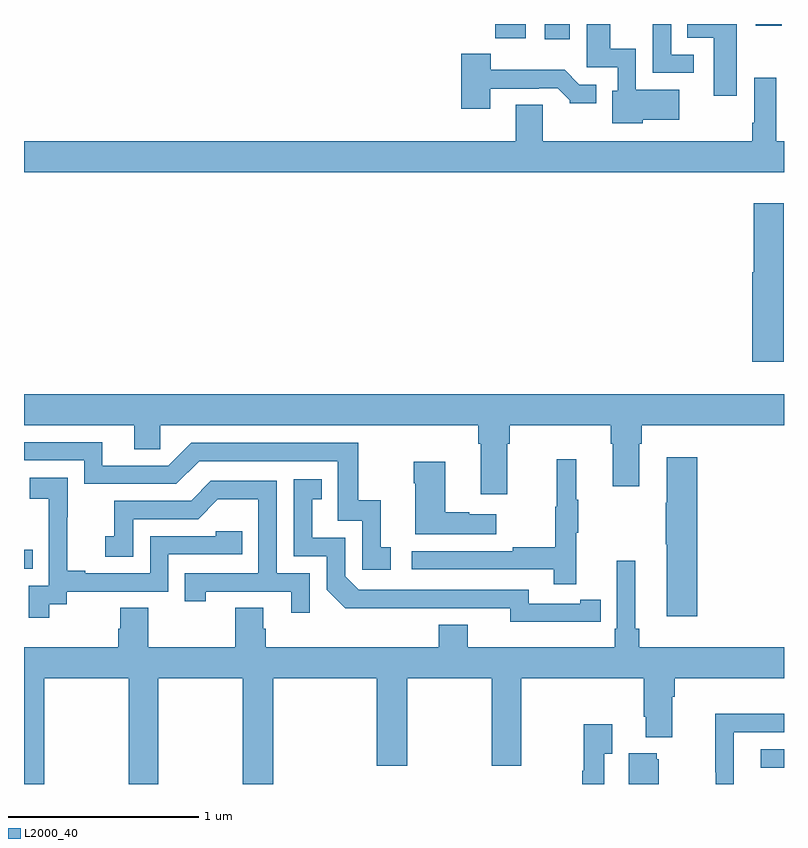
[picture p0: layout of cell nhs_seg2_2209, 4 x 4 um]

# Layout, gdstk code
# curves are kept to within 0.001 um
import gdstk
lib = gdstk.Library(unit=1e-6, precision=1e-09)
def R(c, l, rs):  # rectangles x0, y0, x1, y1
    for r in rs: c.add(gdstk.rectangle(r[:2], r[2:], *l))
def P(c, l, *ps):  # polygons
    for p in ps: c.add(gdstk.Polygon(p, *l))
L2000_40 = (2000, 40)

nhs_seg2_2209 = lib.new_cell('nhs_seg2_2209')
R(nhs_seg2_2209, L2000_40, [(230.877,593.886,231,593.982), (227,594.933,227.045,595.034), (229.742,597.72,229.873,597.8), (229.48,597.725,229.642,597.8), (230.852,597.792,230.987,597.8)])
P(nhs_seg2_2209, L2000_40, [(230.752,597.8),(230.491,597.8),(230.491,597.728),(230.63,597.728),(230.63,597.423),(230.752,597.423)],
  [(230.524,597.639),(230.406,597.639),(230.406,597.8),(230.31,597.8),(230.31,597.543),(230.524,597.543)],
  [(230.256,597.296),(230.449,597.296),(230.449,597.454),(230.22,597.454),(230.22,597.67),(230.086,597.67),(230.086,597.8),(229.961,597.8),(229.961,597.573),(230.124,597.573),(230.124,597.45),(230.096,597.45),(230.096,597.278),(230.256,597.278)],
  [(229.453,597.459),(229.709,597.459),(229.709,597.462),(229.808,597.462),(229.872,597.398),(229.872,597.383),(230.011,597.383),(230.011,597.48),(229.923,597.48),(229.845,597.559),(229.456,597.559),(229.456,597.643),(229.301,597.643),(229.301,597.354),(229.453,597.354)],
  [(231,597.184),(230.96,597.184),(230.96,597.517),(230.844,597.517),(230.844,597.28),(230.832,597.28),(230.832,597.184),(229.729,597.184),(229.729,597.374),(229.589,597.374),(229.589,597.184),(227,597.184),(227,597.02),(231,597.02)],
  [(230.998,596.857),(230.84,596.857),(230.84,596.493),(230.834,596.493),(230.834,596.022),(230.998,596.022)],
  [(229.543,595.592),(229.556,595.592),(229.556,595.688),(230.087,595.688),(230.087,595.592),(230.099,595.592),(230.099,595.368),(230.239,595.368),(230.239,595.592),(230.252,595.592),(230.252,595.688),(231,595.688),(231,595.852),(227,595.852),(227,595.688),(227.579,595.688),(227.579,595.561),(227.718,595.561),(227.718,595.688),(229.391,595.688),(229.391,595.592),(229.403,595.592),(229.403,595.326),(229.543,595.326)],
  [(228.931,595.047),(228.878,595.047),(228.878,595.294),(228.76,595.294),(228.76,595.596),(227.88,595.596),(227.76,595.476),(227.413,595.476),(227.413,595.599),(227,595.599),(227,595.503),(227.316,595.503),(227.316,595.38),(227.802,595.38),(227.922,595.5),(228.651,595.5),(228.651,595.185),(228.78,595.185),(228.78,594.927),(228.931,594.927)],
  [(230.543,595.519),(230.384,595.519),(230.384,595.28),(230.377,595.28),(230.377,595.063),(230.384,595.063),(230.384,594.684),(230.543,594.684)],
  [(229.907,595.123),(229.918,595.123),(229.918,595.297),(229.907,595.297),(229.907,595.51),(229.804,595.51),(229.804,595.26),(229.797,595.26),(229.797,595.046),(229.573,595.046),(229.573,595.026),(229.041,595.026),(229.041,594.93),(229.789,594.93),(229.789,594.852),(229.907,594.852)],
  [(229.486,595.219),(229.343,595.219),(229.343,595.229),(229.216,595.229),(229.216,595.495),(229.051,595.495),(229.051,595.382),(229.058,595.382),(229.058,595.115),(229.486,595.115)],
  [(227.134,594.745),(227.226,594.745),(227.226,594.813),(227.76,594.813),(227.76,595.008),(228.149,595.008),(228.149,595.131),(228.009,595.131),(228.009,595.104),(227.664,595.104),(227.664,594.909),(227.323,594.909),(227.323,594.922),(227.228,594.922),(227.228,595.205),(227.229,595.205),(227.229,595.411),(227.031,595.411),(227.031,595.301),(227.129,595.301),(227.129,595.073),(227.13,595.073),(227.13,594.843),(227.025,594.843),(227.025,594.675),(227.134,594.675)],
  [(229.928,594.654),(230.036,594.654),(230.036,594.77),(229.928,594.77),(229.928,594.75),(229.656,594.75),(229.656,594.822),(228.762,594.822),(228.69,594.894),(228.69,595.095),(228.517,595.095),(228.517,595.299),(228.566,595.299),(228.566,595.405),(228.42,595.405),(228.42,594.999),(228.594,594.999),(228.594,594.822),(228.692,594.725),(229.56,594.726),(229.56,594.653)],
  [(228.504,594.909),(228.33,594.909),(228.33,595.395),(227.984,595.395),(227.879,595.29),(227.476,595.29),(227.476,595.105),(227.427,595.105),(227.427,594.996),(227.574,594.996),(227.574,595.194),(227.916,595.194),(228.02,595.298),(228.234,595.298),(228.234,594.909),(227.845,594.909),(227.845,594.762),(227.956,594.762),(227.956,594.813),(228.407,594.813),(228.407,594.702),(228.504,594.702)],
  [(227.106,594.356),(227.551,594.356),(227.551,593.8),(227.706,593.8),(227.706,594.356),(228.151,594.356),(228.151,593.8),(228.311,593.8),(228.311,594.356),(228.857,594.356),(228.857,593.895),(229.017,593.895),(229.017,594.356),(229.462,594.356),(229.462,593.895),(229.617,593.895),(229.617,594.356),(230.261,594.356),(230.261,594.154),(230.273,594.154),(230.273,594.047),(230.413,594.047),(230.413,594.26),(230.426,594.26),(230.426,594.356),(231,594.356),(231,594.52),(230.237,594.52),(230.237,594.616),(230.218,594.616),(230.218,594.976),(230.121,594.976),(230.121,594.616),(230.108,594.616),(230.108,594.52),(229.336,594.52),(229.336,594.637),(229.184,594.637),(229.184,594.52),(228.272,594.52),(228.272,594.618),(228.259,594.618),(228.259,594.728),(228.112,594.728),(228.112,594.52),(227.655,594.52),(227.655,594.728),(227.507,594.728),(227.507,594.618),(227.495,594.618),(227.495,594.52),(227,594.52),(227,593.8),(227.106,593.8)],
  [(230.736,594.072),(231,594.072),(231,594.17),(230.638,594.17),(230.638,593.863),(230.64,593.863),(230.64,593.8),(230.736,593.8)],
  [(230.055,593.959),(230.095,593.959),(230.095,594.115),(229.947,594.115),(229.947,593.87),(229.939,593.87),(229.939,593.8),(230.055,593.8)],
  [(230.341,593.931),(230.33,593.931),(230.33,593.962),(230.183,593.962),(230.183,593.8),(230.341,593.8)])

lib.write_gds('nhs_seg2_2209.gds')
